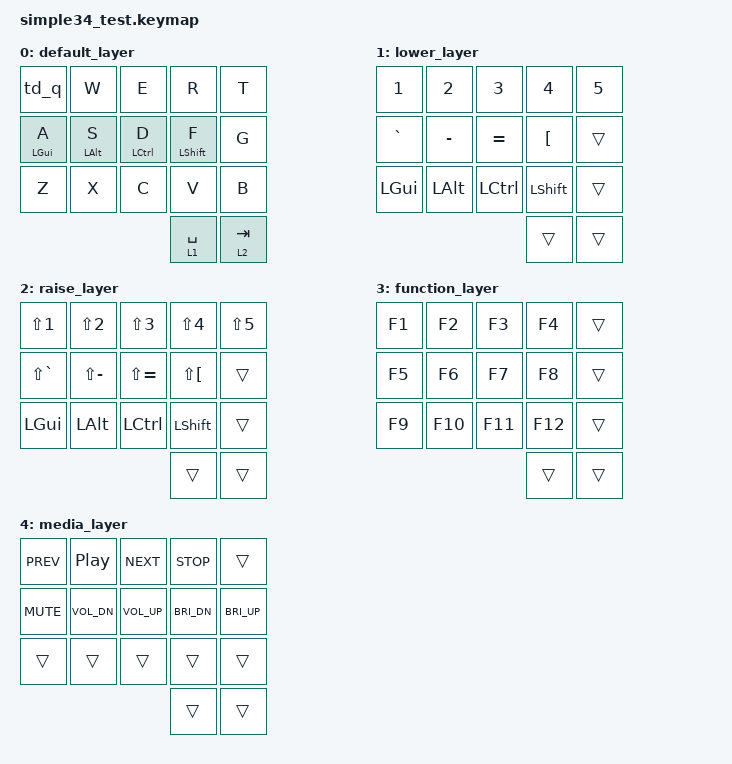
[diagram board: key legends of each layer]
#include <behaviors.dtsi>
#include <dt-bindings/zmk/keys.h>

/ {
    behaviors {
        td_q: tap_dance_q {
            compatible = "zmk,behavior-tap-dance";
            #binding-cells = <0>;
            tapping-term-ms = <200>;
            bindings = <&kp Q>, <&kp ESC>;
        };

        mt: mod_tap {
            compatible = "zmk,behavior-hold-tap";
            #binding-cells = <2>;
            flavor = "tap-preferred";
            tapping-term-ms = <250>;
            bindings = <&kp>, <&kp>;
        };
    };

    combos {
        compatible = "zmk,combos";
        combo_capslock {
            timeout-ms = <50>;
            key-positions = <13 16>;
            bindings = <&kp CAPS>;
        };
    };

    keymap {
        compatible = "zmk,keymap";

        // Layer 0: Base Layer with Homerow Mods (LEFT HALF ONLY)
        default_layer {
            bindings = <
                &td_q        &kp W        &kp E        &kp R        &kp T
                &mt LGUI A   &mt LALT S   &mt LCTRL D  &mt LSHFT F  &kp G
                &kp Z        &kp X        &kp C        &kp V        &kp B
                                                       &lt 1 SPACE  &lt 2 TAB
            >;
        };

        // Layer 1: Numbers & Symbols
        lower_layer {
            bindings = <
                &kp N1       &kp N2       &kp N3       &kp N4       &kp N5
                &kp GRAVE    &kp MINUS    &kp EQUAL    &kp LBKT     &trans
                &kp LGUI     &kp LALT     &kp LCTRL    &kp LSHFT    &trans
                                                       &trans       &trans
            >;
        };

        // Layer 2: Shifted Numbers & Symbols
        raise_layer {
            bindings = <
                &kp LS(N1)   &kp LS(N2)   &kp LS(N3)   &kp LS(N4)   &kp LS(N5)
                &kp LS(GRAVE) &kp LS(MINUS) &kp LS(EQUAL) &kp LS(LBKT) &trans
                &kp LGUI     &kp LALT     &kp LCTRL    &kp LSHFT    &trans
                                                       &trans       &trans
            >;
        };

        // Layer 3: Function Keys & Navigation
        function_layer {
            bindings = <
                &kp F1       &kp F2       &kp F3       &kp F4       &trans
                &kp F5       &kp F6       &kp F7       &kp F8       &trans
                &kp F9       &kp F10      &kp F11      &kp F12      &trans
                                                       &trans       &trans
            >;
        };

        // Layer 4: Media Controls
        media_layer {
            bindings = <
                &kp C_PREV   &kp C_PP     &kp C_NEXT   &kp C_STOP   &trans
                &kp C_MUTE   &kp C_VOL_DN &kp C_VOL_UP &kp C_BRI_DN &kp C_BRI_UP
                &trans       &trans       &trans       &trans       &trans
                                                       &trans       &trans
            >;
        };
    };
};
